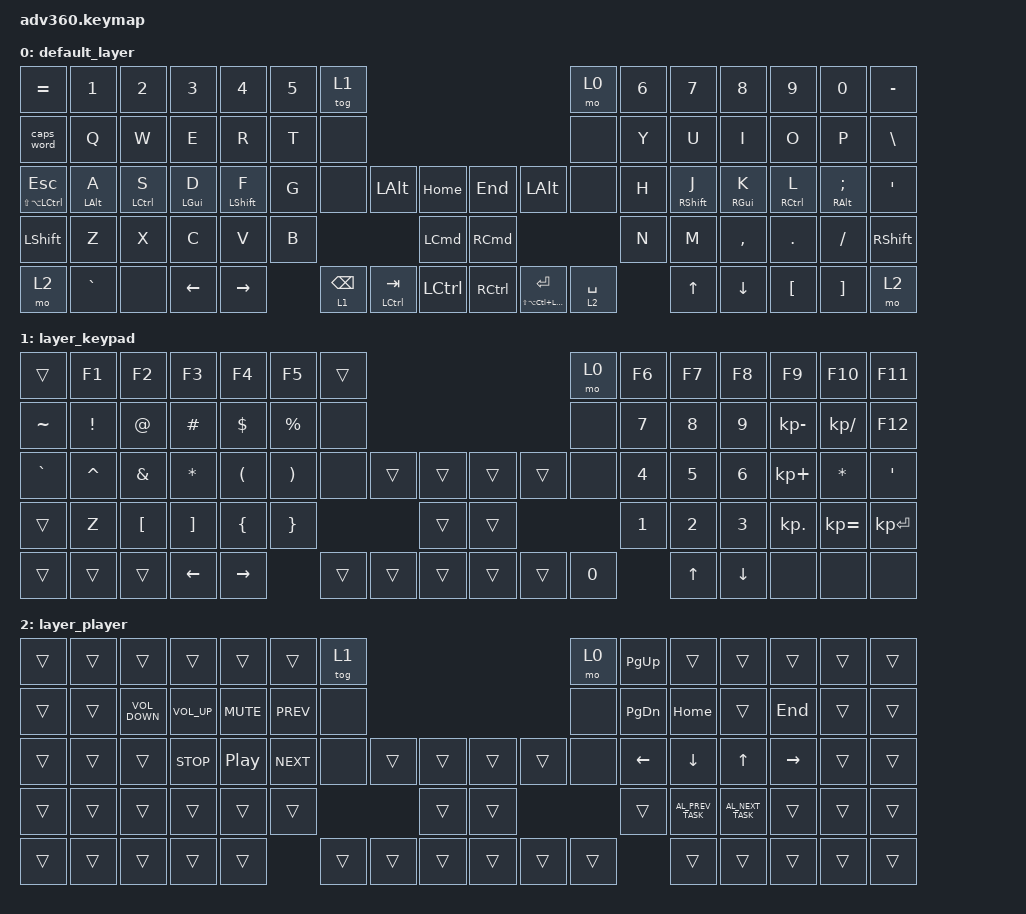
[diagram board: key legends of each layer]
/*
 * Copyright (c) 2020 The ZMK Contributors
 *
 * SPDX-License-Identifier: MIT
 */
/* THIS FILE WAS GENERATED!
 *
 * This file was generated automatically. You may or may not want to
 * edit it directly.
 */

#include <behaviors.dtsi>
#include <dt-bindings/zmk/keys.h>

/ {
    behaviors {
        #include "macros.dtsi"
    #include "version.dtsi"

        hm: homerow_mods {
            compatible = "zmk,behavior-hold-tap";
            label = "HOMEROW_MODS";
            #binding-cells = <2>;
            tapping-term-ms = <200>;
            quick_tap_ms = <175>;
            flavor = "tap-preferred";
            bindings = <&kp>, <&kp>;
        };
    };

    keymap {
        compatible = "zmk,keymap";

        default_layer {
            bindings = <
&kp EQUAL                 &kp N1      &kp N2       &kp N3      &kp N4        &kp N5  &tog 1                                                                                               &mo 0        &kp N6  &kp N7        &kp N8      &kp N9       &kp N0         &kp MINUS
&caps_word                &kp Q       &kp W        &kp E       &kp R         &kp T   &none                                                                                                &none        &kp Y   &kp U         &kp I       &kp O        &kp P          &kp BSLH
&hm LS(LA(LCTRL)) ESCAPE  &hm LALT A  &hm LCTRL S  &hm LGUI D  &hm LSHIFT F  &kp G   &none            &kp LALT       &kp HOME              &kp END            &kp LALT                    &none        &kp H   &hm RSHIFT J  &hm RGUI K  &hm RCTRL L  &hm RALT SEMI  &kp SQT
&kp LSHIFT                &kp Z       &kp X        &kp C       &kp V         &kp B                                   &kp LEFT_COMMAND      &kp RIGHT_COMMAND                                           &kp N   &kp M         &kp COMMA   &kp DOT      &kp FSLH       &kp RSHFT
&mo 2                     &kp GRAVE   &none        &kp LEFT    &kp RIGHT             &lt 1 BACKSPACE  &hm LCTRL TAB  &kp LCTRL             &kp RCTRL          &hm LS(LA(LC(LGUI))) ENTER  &lt 2 SPACE          &kp UP        &kp DOWN    &kp LBKT     &kp RBKT       &mo 2
            >;
        };

        layer_keypad {
            bindings = <
&trans     &kp F1           &kp F2            &kp F3             &kp F4                &kp F5                 &trans                                      &mo 0   &kp F6        &kp F7        &kp F8        &kp F9        &kp F10        &kp F11
&kp TILDE  &kp EXCLAMATION  &kp AT_SIGN       &kp POUND          &kp DOLLAR            &kp PERCENT            &none                                       &none   &kp N7        &kp N8        &kp N9        &kp KP_MINUS  &kp KP_DIVIDE  &kp F12
&kp GRAVE  &kp CARET        &kp AMPERSAND     &kp ASTERISK       &kp LEFT_PARENTHESIS  &kp RIGHT_PARENTHESIS  &none   &trans  &trans      &trans  &trans  &none   &kp NUMBER_4  &kp N5        &kp NUMBER_6  &kp KP_PLUS   &kp ASTERISK   &kp SQT
&trans     &kp Z            &kp LEFT_BRACKET  &kp RIGHT_BRACKET  &kp LEFT_BRACE        &kp RIGHT_BRACE                        &trans      &trans                  &kp NUMBER_1  &kp NUMBER_2  &kp NUMBER_3  &kp KP_DOT    &kp KP_EQUAL   &kp KP_ENTER
&trans     &trans           &trans            &kp LEFT           &kp RIGHT                                    &trans  &trans  &trans      &trans  &trans  &kp N0                &kp UP        &kp DOWN      &none         &none          &none
            >;
        };

        layer_player {
            bindings = <
&trans  &trans  &trans             &trans        &trans            &trans      &tog 1                                      &mo 0   &kp PAGE_UP    &trans              &trans              &trans     &trans  &trans
&trans  &trans  &kp C_VOLUME_DOWN  &kp C_VOL_UP  &kp C_MUTE        &kp C_PREV  &none                                       &none   &kp PAGE_DOWN  &kp HOME            &trans              &kp END    &trans  &trans
&trans  &trans  &trans             &kp C_STOP    &kp C_PLAY_PAUSE  &kp C_NEXT  &none   &trans  &trans      &trans  &trans  &none   &kp LEFT       &kp DOWN            &kp UP              &kp RIGHT  &trans  &trans
&trans  &trans  &trans             &trans        &trans            &trans                      &trans      &trans                  &trans         &kp C_AL_PREV_TASK  &kp C_AL_NEXT_TASK  &trans     &trans  &trans
&trans  &trans  &trans             &trans        &trans                        &trans  &trans  &trans      &trans  &trans  &trans                 &trans              &trans              &trans     &trans  &trans
            >;
        };
    };
};
